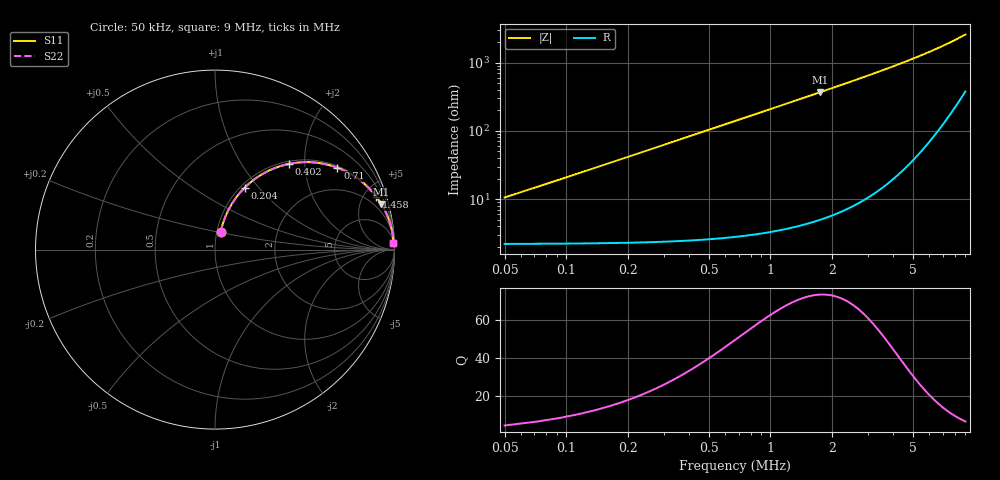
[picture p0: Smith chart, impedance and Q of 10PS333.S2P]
! Coilcraft 1008PS-333 Power Chip Inductor
! 7 October 2002
# MHZ S MA R 50
!Freq  MagS11  AngS11  MagS21  AngS21  MagS12  AngS12  MagS22  AngS22
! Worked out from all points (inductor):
!   408 points, 50 kHz to 9 MHz, reference 50 ohm
!   read as one part in series: L = 33 uH near 94 kHz
!   highest Q = 73.5 at 1.744 MHz (marker M1), where L = 33.4 uH
!   S11 on the Smith chart (normalised r, x): 50 kHz: 1.04, +0.21; 204 kHz: 1.05, +0.85; 402 kHz: 1.05, +1.67; 710 kHz: 1.06, +2.95; 1.458 MHz: 1.08, +6.10; 9 MHz: 9, +51
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0.05  0.1032 72.1  0.9733 -5.8  0.9733 -5.8  0.1032 72.1
0.072  0.1461 73.2  0.9679 -8.3  0.9679 -8.3  0.1461 73.2
0.116  0.23 71.4  0.952 -13.2  0.952 -13.2  0.23 71.4
0.138  0.2703 69.8  0.9417 -15.6  0.9417 -15.6  0.2703 69.8
0.16  0.3093 68.1  0.93 -18.0  0.93 -18.0  0.3093 68.1
0.204  0.3827 64.4  0.9033 -22.5  0.9033 -22.5  0.3827 64.4
0.292  0.5095 57.1  0.8407 -30.6  0.8407 -30.6  0.5095 57.1
0.402  0.6315 49.2  0.7568 -39.1  0.7568 -39.1  0.6315 49.2
0.556  0.7474 40.3  0.6474 -48.3  0.6474 -48.3  0.7474 40.3
0.71  0.8204 33.8  0.5561 -55.1  0.5561 -55.1  0.8204 33.8
0.864  0.8675 28.9  0.4828 -60.2  0.4828 -60.2  0.8675 28.9
1.018  0.8989 25.1  0.4241 -64.0  0.4241 -64.0  0.8989 25.1
1.216  0.9257 21.4  0.365 -67.8  0.365 -67.8  0.9257 21.4
1.458  0.9463 18.1  0.3105 -71.1  0.3105 -71.1  0.9463 18.1
1.546  0.9517 17.1  0.2942 -72.1  0.2942 -72.1  0.9517 17.1
1.744  0.9613 15.2  0.2627 -74.0  0.2627 -74.0  0.9613 15.2
2.338  0.9775 11.4  0.1974 -77.8  0.1974 -77.8  0.9775 11.4
3.042  0.9861 8.7  0.1508 -80.4  0.1508 -80.4  0.9861 8.7
4.538  0.9926 5.6  0.09738 -82.8  0.09738 -82.8  0.9926 5.6
6.034  0.9942 3.9  0.06891 -83.2  0.06891 -83.2  0.9942 3.9
7.53  0.9943 2.9  0.05092 -82.1  0.05092 -82.1  0.9943 2.9
9  0.9936 2.2  0.03862 -79.4  0.03862 -79.4  0.9936 2.2
